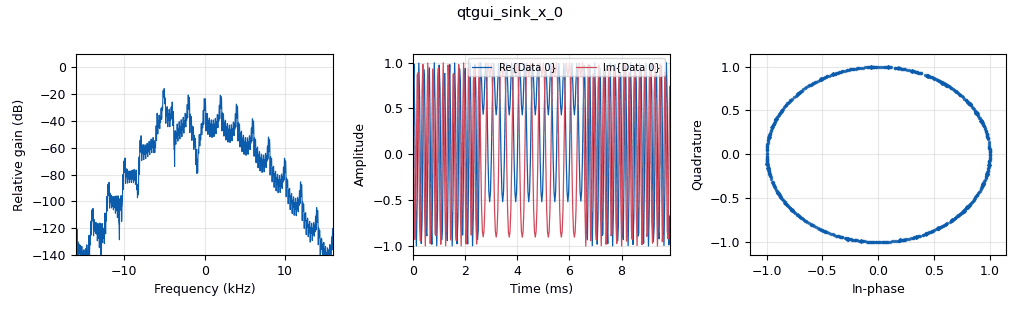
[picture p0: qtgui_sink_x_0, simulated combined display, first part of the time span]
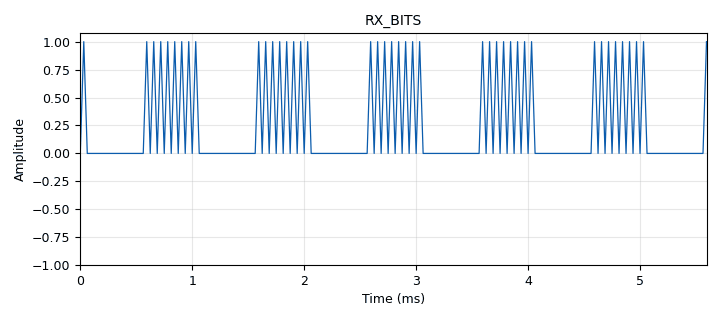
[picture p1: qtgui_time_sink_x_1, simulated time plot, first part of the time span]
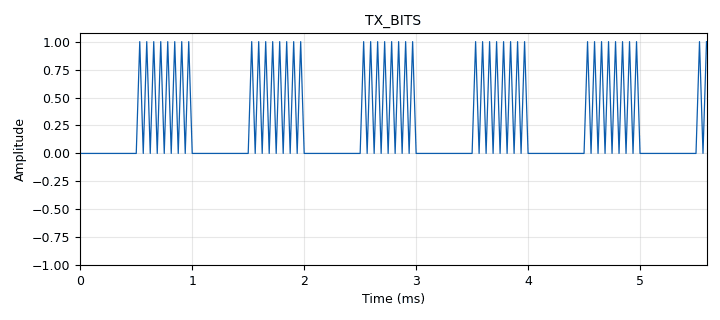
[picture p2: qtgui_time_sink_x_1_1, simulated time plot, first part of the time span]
<?xml version='1.0' encoding='utf-8'?>
<?grc format='1' created='3.7.13'?>
<flow_graph>
<block>
<key>options</key>
<param><key>id</key><value>gfsk_loopback</value></param>
<param><key>category</key><value>Custom</value></param>
<param><key>generate_options</key><value>qt_gui</value></param>
</block>
<block>
<key>variable_qtgui_range</key>
<param><key>id</key><value>fm_sensitivity</value></param>
<param><key>value</key><value>1</value></param>
<param><key>orient</key><value>Qt.Horizontal</value></param>
<param><key>start</key><value>0</value></param>
<param><key>step</key><value>0.01</value></param>
<param><key>stop</key><value>10</value></param>
</block>
<block>
<key>variable</key>
<param><key>id</key><value>samp_rate</value></param>
<param><key>value</key><value>32000</value></param>
</block>
<block>
<key>variable</key>
<param><key>id</key><value>sps</value></param>
<param><key>value</key><value>8</value></param>
</block>
<block>
<key>blocks_char_to_float</key>
<param><key>id</key><value>blocks_char_to_float_0</value></param>
<param><key>scale</key><value>1</value></param>
</block>
<block>
<key>blocks_char_to_float</key>
<param><key>id</key><value>blocks_char_to_float_0_0</value></param>
<param><key>scale</key><value>1</value></param>
</block>
<block>
<key>blocks_throttle</key>
<param><key>id</key><value>blocks_throttle_0_0</value></param>
<param><key>samples_per_second</key><value>samp_rate</value></param>
<param><key>type</key><value>complex</value></param>
</block>
<block>
<key>blocks_unpack_k_bits_bb</key>
<param><key>id</key><value>blocks_unpack_k_bits_bb_0</value></param>
<param><key>k</key><value>8</value></param>
</block>
<block>
<key>blocks_vector_source_x</key>
<param><key>id</key><value>blocks_vector_source_x_0</value></param>
<param><key>type</key><value>byte</value></param>
<param><key>repeat</key><value>True</value></param>
<param><key>vector</key><value>(0, 0, 0x55, 0x55)</value></param>
</block>
<block>
<key>digital_gfsk_demod</key>
<param><key>id</key><value>digital_gfsk_demod_0</value></param>
<param><key>freq_error</key><value>0.0</value></param>
<param><key>gain_mu</key><value>0.175</value></param>
<param><key>mu</key><value>0.5</value></param>
<param><key>omega_relative_limit</key><value>0.005</value></param>
<param><key>samples_per_symbol</key><value>sps</value></param>
<param><key>sensitivity</key><value>fm_sensitivity</value></param>
<param><key>verbose</key><value>True</value></param>
</block>
<block>
<key>digital_gfsk_mod</key>
<param><key>id</key><value>digital_gfsk_mod_0</value></param>
<param><key>bt</key><value>0.35</value></param>
<param><key>samples_per_symbol</key><value>sps</value></param>
<param><key>sensitivity</key><value>fm_sensitivity</value></param>
</block>
<block>
<key>digital_gmsk_demod</key>
<param><key>id</key><value>digital_gmsk_demod_0</value></param>
<param><key>_enabled</key><value>0</value></param>
<param><key>freq_error</key><value>0.0</value></param>
<param><key>gain_mu</key><value>0.175</value></param>
<param><key>mu</key><value>0.5</value></param>
<param><key>omega_relative_limit</key><value>0.005</value></param>
<param><key>samples_per_symbol</key><value>4</value></param>
</block>
<block>
<key>digital_gmsk_mod</key>
<param><key>id</key><value>digital_gmsk_mod_0</value></param>
<param><key>bt</key><value>0.35</value></param>
<param><key>_enabled</key><value>0</value></param>
<param><key>samples_per_symbol</key><value>4</value></param>
</block>
<block>
<key>qtgui_sink_x</key>
<param><key>id</key><value>qtgui_sink_x_0</value></param>
<param><key>bw</key><value>samp_rate</value></param>
<param><key>fc</key><value>0</value></param>
<param><key>freqchangevar</key><value>None</value></param>
<param><key>fftsize</key><value>1024</value></param>
<param><key>showports</key><value>True</value></param>
<param><key>type</key><value>complex</value></param>
<param><key>wintype</key><value>firdes.WIN_BLACKMAN_hARRIS</value></param>
</block>
<block>
<key>qtgui_time_sink_x</key>
<param><key>id</key><value>qtgui_time_sink_x_1</value></param>
<param><key>color1</key><value>"blue"</value></param>
<param><key>label1</key><value></value></param>
<param><key>name</key><value>RX_BITS</value></param>
<param><key>size</key><value>1024</value></param>
<param><key>srate</key><value>samp_rate</value></param>
<param><key>type</key><value>float</value></param>
</block>
<block>
<key>qtgui_time_sink_x</key>
<param><key>id</key><value>qtgui_time_sink_x_1_1</value></param>
<param><key>color1</key><value>"blue"</value></param>
<param><key>label1</key><value></value></param>
<param><key>name</key><value>TX_BITS</value></param>
<param><key>size</key><value>1024</value></param>
<param><key>srate</key><value>samp_rate</value></param>
<param><key>type</key><value>float</value></param>
</block>
<connection><source_block_id>blocks_char_to_float_0</source_block_id><sink_block_id>qtgui_time_sink_x_1_1</sink_block_id><source_key>0</source_key><sink_key>0</sink_key></connection>
<connection><source_block_id>blocks_char_to_float_0_0</source_block_id><sink_block_id>qtgui_time_sink_x_1</sink_block_id><source_key>0</source_key><sink_key>0</sink_key></connection>
<connection><source_block_id>blocks_throttle_0_0</source_block_id><sink_block_id>digital_gfsk_demod_0</sink_block_id><source_key>0</source_key><sink_key>0</sink_key></connection>
<connection><source_block_id>blocks_throttle_0_0</source_block_id><sink_block_id>digital_gmsk_demod_0</sink_block_id><source_key>0</source_key><sink_key>0</sink_key></connection>
<connection><source_block_id>blocks_throttle_0_0</source_block_id><sink_block_id>qtgui_sink_x_0</sink_block_id><source_key>0</source_key><sink_key>0</sink_key></connection>
<connection><source_block_id>blocks_unpack_k_bits_bb_0</source_block_id><sink_block_id>blocks_char_to_float_0</sink_block_id><source_key>0</source_key><sink_key>0</sink_key></connection>
<connection><source_block_id>blocks_vector_source_x_0</source_block_id><sink_block_id>blocks_unpack_k_bits_bb_0</sink_block_id><source_key>0</source_key><sink_key>0</sink_key></connection>
<connection><source_block_id>blocks_vector_source_x_0</source_block_id><sink_block_id>digital_gfsk_mod_0</sink_block_id><source_key>0</source_key><sink_key>0</sink_key></connection>
<connection><source_block_id>blocks_vector_source_x_0</source_block_id><sink_block_id>digital_gmsk_mod_0</sink_block_id><source_key>0</source_key><sink_key>0</sink_key></connection>
<connection><source_block_id>digital_gfsk_demod_0</source_block_id><sink_block_id>blocks_char_to_float_0_0</sink_block_id><source_key>0</source_key><sink_key>0</sink_key></connection>
<connection><source_block_id>digital_gfsk_mod_0</source_block_id><sink_block_id>blocks_throttle_0_0</sink_block_id><source_key>0</source_key><sink_key>0</sink_key></connection>
<connection><source_block_id>digital_gmsk_demod_0</source_block_id><sink_block_id>blocks_char_to_float_0_0</sink_block_id><source_key>0</source_key><sink_key>0</sink_key></connection>
<connection><source_block_id>digital_gmsk_mod_0</source_block_id><sink_block_id>blocks_throttle_0_0</sink_block_id><source_key>0</source_key><sink_key>0</sink_key></connection>
</flow_graph>
